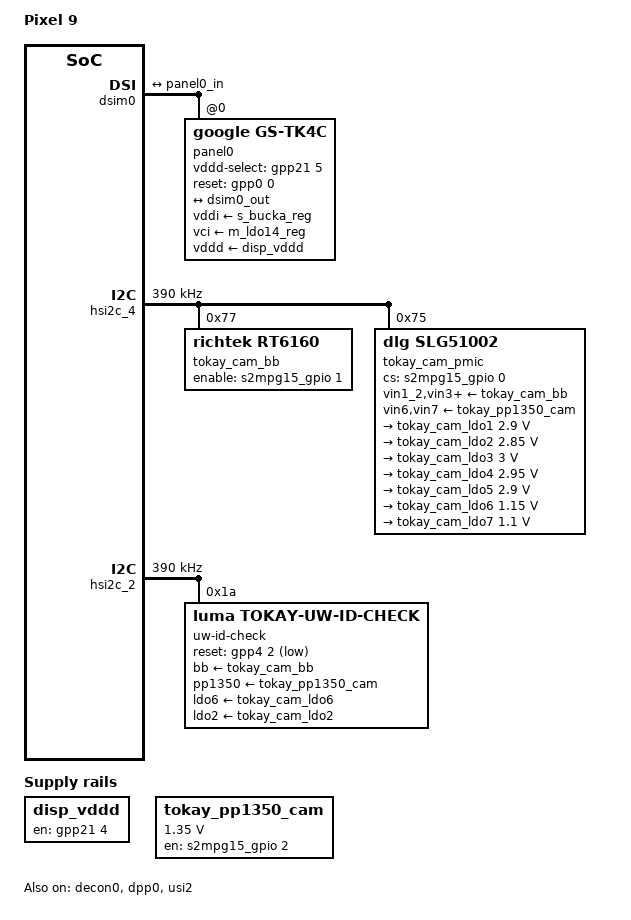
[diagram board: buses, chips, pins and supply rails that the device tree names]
// SPDX-License-Identifier: GPL-2.0-only
/*
 * Pixel 9 (tokay) Device Tree
 *
 * Copyright 2025 Trijal Saha - <trijalsaha2012@gmail.com>
 */

/dts-v1/;

#include "zumapro-pixel-common.dtsi"
#include "zumapro-caimito-bcm4390.dtsi"
#include "zumapro-caimito-s5400.dtsi"
#include "zumapro-caimito-cs35l41.dtsi"

/ {
	model = "Pixel 9";
	compatible = "google,tokay", "google,zumapro-tokay", "google,zumapro";

	/* Factory CP41.260814.003.B1 DTBO 59: display VDDD enable. */
	disp_vddd: regulator-display-vddd {
		compatible = "regulator-fixed";
		regulator-name = "disp_vddd";
		gpio = <&gpp21 4 GPIO_ACTIVE_HIGH>;
		enable-active-high;
		regulator-boot-on;
	};

	memory_4: memory@a00000000 {
		device_type = "memory";
		reg = <0x0a 0x00 0x80000000>;
	};

	memory_5: memory@a80000000 {
		device_type = "memory";
		reg = <0x0a 0x80000000 0x80000000>;
	};
};

/* Board identity the AOC firmware reads at boot. */
/*
 * The Halo DSP speaker-protection tuning is specific to this board's drivers
 * and to each channel, so the firmware has to be named for both.  This is what
 * wm_adsp interpolates as the system name: the amplifiers ask for
 * cirrus/cs35l41-dsp1-spk-prot-tokay.wmfw, and for a tuning of the same stem
 * with "-r" appended on the right-hand amplifier, which carries the prefix.
 */
&spitouch {
	st,dchip_id = /bits/ 8 <0x36 0x48>;
	st,max-coords = <1079 2399>;
	st,udfps-coords = <540 1769>;
	st,touch_offload_id = /bits/ 8 <'0' '0' 'o' '6'>;
	panel = <&panel0>;
};

&cs35l41_l {
	cirrus,subsystem-id = "tokay";
};

&cs35l41_r {
	cirrus,subsystem-id = "tokay";
};

&aoc {
	aoc-board-id = <0x40a02>;
	aoc-board-rev = <0x10000>;
	google,wifi-chip = <1>;	/* BCM4390 */

	/*
	 * The rails the AoC's physical sensors hang off.  The AoC does not
	 * switch these itself, and without them its sensor stack enumerates
	 * only the fused and software sensors -- the LSM6DSV, magnetometer,
	 * barometer and proximity chips never answer.  Mapping matches the
	 * downstream komodo aoc@17000000: sensor_1v8 = L7S_SENSORS (LDO7S),
	 * sensor_3v3 = L5S_PROX (LDO5S).
	 */
	sensor_1v8-supply = <&s_ldo7_reg>;
	sensor_3v3-supply = <&s_ldo5_reg>;

	/*
	 * The sensor registry, described here rather than on a consumer,
	 * because it is one piece of AoC-global state: the IIO bridge and the
	 * wake-gesture driver both ask for it, and whichever arrives first
	 * loads it.
	 *
	 * These are the vendor .reg scripts, copied unmodified into the
	 * firmware path -- the tree under /vendor/etc/sensors/registry, layout
	 * and all.  They are named here rather than discovered, because the
	 * kernel cannot enumerate a directory to load firmware from, and
	 * because which scripts a board carries is board description.
	 *
	 * All of them are uploaded whatever the stage.  Each carries its own
	 * ?+CDT/?-CDT filter and the AoC evaluates those against the CDT
	 * composed from /chosen/plat, so the scripts for other stages exclude
	 * themselves; on a stage-6 part (CDT 0x00086100) that leaves
	 * komodo_common, komodo_dvt and the two append scripts.  Order
	 * matters: the common script defines the buses and the devices, the
	 * stage script refines them, and the append scripts come last.
	 */
	google,usf-registry = "google/usf/komodo/komodo_common.reg",
			      "google/usf/komodo/komodo_proto.reg",
			      "google/usf/komodo/komodo_proto_mag_doe.reg",
			      "google/usf/komodo/komodo_evt_1_0.reg",
			      "google/usf/komodo/komodo_evt_1_1.reg",
			      "google/usf/komodo/komodo_evt_mag_doe.reg",
			      "google/usf/komodo/komodo_dvt.reg",
			      "google/usf/komodo/append/motion_state.reg",
			      "google/usf/komodo/append/power.reg";
};

/ {
	/*
	 * Touch Bus Negotiator.  tbn,mode = 2 is the AoC-channel handshake: the
	 * AP <-> AoC arbitration runs as messages over the com.google.tbn_service AoC
	 * service rather than over GPIOs, which is what the downstream tbn node
	 * describes.  One consumer, the touch controller.
	 */
	tbn: tbn {
		compatible = "touch_bus_negotiator";
		google,aoc = <&aoc>;
		tbn,mode = <2>;
		tbn,max_devices = <1>;
	};

	/*
	 * The AoC sensor hub, bridged to IIO.  No hardware is described here:
	 * the sensors live in AoC firmware behind the com.google.usf service.
	 * The registry it needs is named on the AoC node above.
	 */
	aoc_usf: aoc-usf {
		compatible = "google,aoc-usf";
		google,aoc = <&aoc>;
	};

	/*
	 * Wake gestures the AoC watches while the AP sleeps: a tap on the dark panel,
	 * and lift-to-wake, reported as KEY_WAKEUP.  Armed only while the panel it
	 * names is off.
	 */
	aoc-gesture-wake {
		compatible = "google,aoc-gesture-wake";
		google,aoc = <&aoc>;
		panel = <&panel0>;
	};
};

&decon_autorefresh_bit {
	status = "disabled";
};

&framebuffer0 {
	width = <1080>;
	height = <2424>;
	stride = <(1080 * 4)>;
	format = "a8r8g8b8";
	status = "disabled";
};

/*
 * Display (DPU) bring-up for komodo.
 *
 * The DECON0/DPP/DPU-DMA/DSIM0 topology is defined in zumapro.dtsi; this
 * board section enables it and attaches the komodo (google,gs-km4) panel via
 * a minimal boot-handoff panel driver (google,komodo-panel).
 *
 * The bootloader initialises the DCPHY, DSIM link and panel and leaves the
 * (dual-DSC, command-mode) link streaming - that is what the simple-
 * framebuffer splash draws into. The DECON DRM stack takes over scanning its
 * own framebuffer into that running link (the DECON emits the matching
 * dual-DSC stream). Disable the simple-framebuffer (and the decon-autorefresh
 * mmio-init) before relying on the DECON output, since enabling decon0 runs
 * decon_reset() and tears the bootloader splash down.
 */
&decon0 {
	status = "okay";
};

&dpu_dma {
	status = "okay";
};

&dpp0 {
	status = "okay";
};

&dsim0 {
	status = "okay";

	panel0: panel@0 {
		compatible = "google,gs-tk4c";
		reg = <0>;
		vddi-supply = <&s_bucka_reg>;
		vci-supply = <&m_ldo14_reg>;
		vddd-supply = <&disp_vddd>;
		vddd-select-gpios = <&gpp21 5 GPIO_ACTIVE_HIGH>;
		/* DDIC reset, matching factory TK4C wiring. */
		reset-gpios = <&gpp0 0 GPIO_ACTIVE_HIGH>;

		port {
			panel0_in: endpoint {
				remote-endpoint = <&dsim0_out>;
			};
		};
	};

	ports {
		port@1 {
			reg = <1>;
			dsim0_out: endpoint {
				remote-endpoint = <&panel0_in>;
			};
		};
	};
};

&acpm_ipc {
	pmic-1 {
		/* PMIC events now use the common VGPIO2AP interrupt domain. */
		regulators {
			m_ldo14_reg: ldo14m {
				regulator-name = "L14M_DISP_VCI";
				regulator-min-microvolt = <3100000>;
				regulator-max-microvolt = <3100000>;
			};
		};
	};
};

/* Keep the modem powered down during Tokay bring-up. */
&pcie_0_phy {
	status = "disabled";
};

&pcie_0 {
	status = "disabled";
};

&cp_power {
	status = "disabled";
};

/ {
	spmi {
		status = "disabled";
	};

	modem {
		status = "disabled";
	};
};

/* Let the amplifiers own Tokay's speaker rail. */
&cs35l41_vp {
	/delete-property/ regulator-always-on;
};

/*
 * CP41.260814.003.B1 factory DTBO 59 keeps BUCKA, BUCK7M and BUCK12S
 * always on. BUCKA also supplies the TK4C panel's VDDI; it is not an
 * amplifier-only rail. Preserve that board policy until all consumers of
 * these shared/unmodelled domains are represented. No voltage is changed.
 */
&m_buck7_reg {
	regulator-always-on;
};

&s_buck12_reg {
	regulator-always-on;
};

&s_bucka_reg {
	regulator-always-on;
};

&s_ldo9_reg {
	/delete-property/ regulator-always-on;
};

&s_ldo10_reg {
	/delete-property/ regulator-always-on;
};

&s_ldo11_reg {
	/delete-property/ regulator-always-on;
};

/* Match CP41 factory DTB ramoops geometry so stock can retain native logs. */
&{/reserved-memory/ramoops@fd3ff000} {
	record-size = <0>;
	console-size = <0x200000>;
	pmsg-size = <0x200000>;
};

/* Native PMIC GPIO controls its own direction and bias over ACPM; the
 * inherited empty pinctrl placeholders have no provider or mux mapping. */
&s2mpg14_gpio {
	/delete-property/ gpio-ranges;
};

&s2mpg15_gpio {
	/delete-property/ gpio-ranges;
};

/* Camera power-controller bring-up only. Sources: exact CP41.260814.003.B1
 * factory DTBO59: fragment@camera_supply and fragment@13. No sensor,
 * autofocus, flash or ISP device is enabled by these declarations. */
/ {
	tokay_pp1350_cam: regulator-pp1350-cam {
		status = "okay";
		compatible = "regulator-fixed";
		regulator-name = "PP1350_CAM";
		regulator-min-microvolt = <1350000>;
		regulator-max-microvolt = <1350000>;
		regulator-enable-ramp-delay = <2000>;
		gpio = <&s2mpg15_gpio 2 GPIO_ACTIVE_HIGH>;
		enable-active-high;
	};
};

&hsi2c_4 {
	status = "okay";
	clock-frequency = <390000>;

	tokay_cam_bb: regulator@77 {
		status = "okay";
		compatible = "richtek,rt6160";
		reg = <0x77>;
		regulator-name = "PP3200_CAM_BB";
		regulator-min-microvolt = <3200000>;
		regulator-max-microvolt = <3200000>;
		regulator-enable-ramp-delay = <2000>;
		regulator-initial-mode = <1>;
		regulator-allowed-modes = <1>;
		enable-gpios = <&s2mpg15_gpio 1 GPIO_ACTIVE_HIGH>;
	};

	tokay_cam_pmic: pmic@75 {
		status = "okay";
		compatible = "dlg,slg51002";
		reg = <0x75>;
		dlg,cs-gpios = <&s2mpg15_gpio 0 GPIO_ACTIVE_HIGH>;
		vin1_2-supply = <&tokay_cam_bb>;
		vin3-supply = <&tokay_cam_bb>;
		vin4-supply = <&tokay_cam_bb>;
		vin5-supply = <&tokay_cam_bb>;
		vin6-supply = <&tokay_pp1350_cam>;
		vin7-supply = <&tokay_pp1350_cam>;

		regulators {
			tokay_cam_ldo1: ldo1 {
				regulator-name = "TOKAY_CAM_LDO1";
				regulator-min-microvolt = <2900000>;
				regulator-max-microvolt = <2900000>;
			};
			tokay_cam_ldo2: ldo2 {
				regulator-name = "TOKAY_CAM_LDO2";
				regulator-min-microvolt = <2850000>;
				regulator-max-microvolt = <2850000>;
			};
			tokay_cam_ldo3: ldo3 {
				regulator-name = "TOKAY_CAM_LDO3";
				regulator-min-microvolt = <3000000>;
				regulator-max-microvolt = <3000000>;
			};
			tokay_cam_ldo4: ldo4 {
				regulator-name = "TOKAY_CAM_LDO4";
				regulator-min-microvolt = <2950000>;
				regulator-max-microvolt = <2950000>;
			};
			tokay_cam_ldo5: ldo5 {
				regulator-name = "TOKAY_CAM_LDO5";
				regulator-min-microvolt = <2900000>;
				regulator-max-microvolt = <2900000>;
			};
			tokay_cam_ldo6: ldo6 {
				regulator-name = "TOKAY_CAM_LDO6";
				regulator-min-microvolt = <1150000>;
				regulator-max-microvolt = <1150000>;
			};
			tokay_cam_ldo7: ldo7 {
				regulator-name = "TOKAY_CAM_LDO7";
				regulator-min-microvolt = <1100000>;
				regulator-max-microvolt = <1100000>;
			};
		};
	};
};

/* Exact Tokay CP41 DTBO59 L12S_CAMIO: 1.85 V, not nominal 1.8 V.
 * No always-on/boot-on or sensor consumer: registering this provider must
 * leave its enable bit off. Source selector46 was read back before import.
 */
&{/firmware/power-management/pmic-2/regulators} {
	tokay_camio: ldo12s {
		regulator-name = "L12S_CAMIO";
		regulator-min-microvolt = <1850000>;
		regulator-max-microvolt = <1850000>;
	};
};

/* RAM-only bounded ultrawide ID consumer. Pin definitions are from Tokay's
 * exact stock base + DTBO59 drive override; all power/ID work waits for a
 * manually loaded external diagnostic module. No camera capture graph.
 */
&pinctrl_peric0 {
	tokay_uw_mclk_on: tokay-uw-mclk-on {
		samsung,pins = "gpp3-0";
		samsung,pin-function = <2>;
		samsung,pin-pud = <0>;
		samsung,pin-drv = <2>;
	};
	tokay_uw_mclk_off: tokay-uw-mclk-off {
		samsung,pins = "gpp3-0";
		samsung,pin-function = <1>;
		samsung,pin-pud = <1>;
		samsung,pin-drv = <2>;
		samsung,pin-val = <0>;
	};
};

&usi2 {
	status = "okay";
	samsung,mode = <USI_MODE_I2C>;
};

&hsi2c_2 {
	status = "okay";
	clock-frequency = <390000>;

	uw-id-check@1a {
		compatible = "luma,tokay-uw-id-check";
		reg = <0x1a>;
		reset-gpios = <&gpp4 2 GPIO_ACTIVE_LOW>;
		bb-supply = <&tokay_cam_bb>;
		pp1350-supply = <&tokay_pp1350_cam>;
		ldo6-supply = <&tokay_cam_ldo6>;
		ldo2-supply = <&tokay_cam_ldo2>;
		io-supply = <&tokay_camio>;
		ldo4-supply = <&tokay_cam_ldo4>;
		clocks = <&cmu_top CLK_GOUT_CMU_DFTMUX_CIS_CLK0>;
		clock-names = "xclk";
		/* No default: do not mux the sensor clock at ordinary boot. */
		pinctrl-names = "off", "on";
		pinctrl-0 = <&tokay_uw_mclk_off>;
		pinctrl-1 = <&tokay_uw_mclk_on>;
	};
};

/* Exact factory DTBO59 fragment64 has an empty SPI20 pinctrl-0.
 * SPI2's gpp4 pins belong to the ultrawide I2C/reset path, not SPI20.
 * Native manual chip select is inside the SPI20 controller and stays enabled.
 */
&spi_20 {
	/delete-property/ pinctrl-0;
	/delete-property/ pinctrl-names;
};
